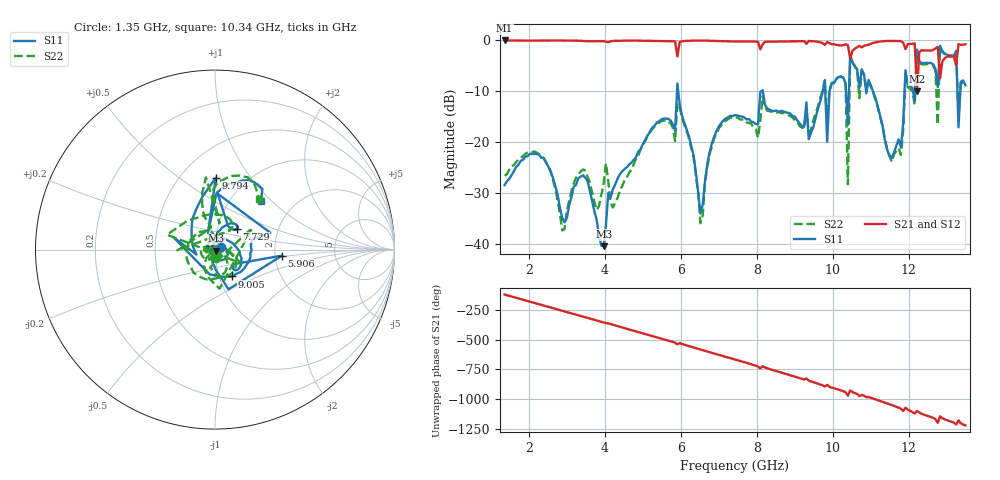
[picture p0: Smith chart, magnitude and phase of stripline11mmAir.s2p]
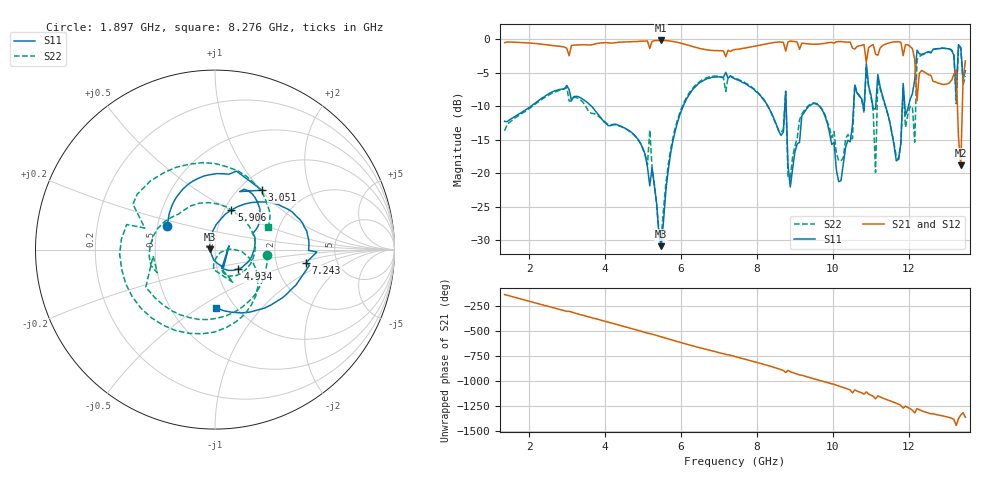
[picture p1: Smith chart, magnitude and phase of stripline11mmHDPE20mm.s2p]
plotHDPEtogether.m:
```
striplineAir = 'stripline11mmAir.s2p';
stripline20mmHDPE = 'stripline11mmHDPE20mm.s2p';
thick20 = 20e-3;
thick10 = 10e-3;
coaxAir = 'coax60mmAir.s2p';
coax10mmHDPE = 'coax60mmHDPE10mm.s2p';
coax20mmHDPE = 'coax60mmHDPE20mm.s2p';
filelength = 209;
[~,sa21,~,~,frequency] = s2pToComplexSParam(striplineAir,filelength);
[~,sh21,~,~,~] = s2pToComplexSParam(stripline20mmHDPE,filelength);
[~,ca21,~,~,~] = s2pToComplexSParam(coaxAir,filelength);
[~,co21,~,~,~] = s2pToComplexSParam(coax10mmHDPE,filelength);
[~,ct21,~,~,~] = s2pToComplexSParam(coax20mmHDPE,filelength);
lengthoffft = 8000;
time_strip_air21=ifft(sa21,lengthoffft);
time_strip_hdpe21=ifft(sh21,lengthoffft);
time_coax_air21=ifft(ca21,lengthoffft);
time_coax_ten21=ifft(co21,lengthoffft);
time_coax_twenty21=ifft(ct21,lengthoffft);

[~,stripline_delay]=max(abs(time_strip_air21));
t=1:1:length(t);
win_length = 25000;
t_win_stripline=exp(-(t-stripline_delay).^2/win_length)';

[~,coax_delay]=max(abs(time_coax_air21));
t_win_coax=exp(-(t-stripline_delay).^2/win_length)';

filter_time_strip_air21=t_win_stripline.*time_strip_air21;
filter_time_strip_hdpe21=t_win_stripline.*time_strip_hdpe21;
filter_time_coax_air21=t_win_coax.*time_coax_air21;
filter_time_coax_ten21=t_win_coax.*time_coax_ten21;
filter_time_coax_twenty21=t_win_coax.*time_coax_twenty21;

temp_time_strip_air21=fft(filter_time_strip_air21);
temp_time_strip_hdpe21=fft(filter_time_strip_hdpe21);
temp_time_coax_air21=fft(filter_time_coax_air21);
temp_time_coax_ten21=fft(filter_time_coax_ten21);
temp_time_coax_twenty21=fft(filter_time_coax_twenty21);

time_strip_air21=temp_time_strip_air21(1:lengthofdata);
time_strip_hdpe21=temp_time_strip_hdpe21(1:lengthofdata);
time_coax_air21=temp_time_coax_air21(1:lengthofdata);
time_coax_ten21=temp_time_coax_ten21(1:lengthofdata);
time_coax_twenty21=temp_time_coax_twenty21(1:lengthofdata);

beta=2*pi*frequency/c0;
stripline=time_strip_hdpe21./time_strip_air21.*exp(-1i*beta*thick20);
coax10mm=time_coax_ten21./time_coax_air21.*exp(-1i*beta*thick10);
coax20mm=time_coax_twenty21./time_coax_air21.*exp(-1i*beta*thick20);

eps_stripline = zeros(size(frequency));
for i=1:length(frequency)
    f=frequency(i);
    tt = fsolve(@(xx) get_s21v2(xx,f,thick20,stripline(i),stripline(i)),[1;0]);
    eps_stripline(i)=tt(1)+1i*tt(2);
end

eps_coax_10mm = zeros(size(frequency));
for i=1:length(frequency)
    f=frequency(i);
    tt = fsolve(@(xx) get_s21v2(xx,f,thick10,coax10mm(i),coax10mm(i)),[1;0]);
    eps_coax_10mm(i)=tt(1)+1i*tt(2);
end

eps_coax_20mm = zeros(size(frequency));
for i=1:length(frequency)
    f=frequency(i);
    tt = fsolve(@(xx) get_s21v2(xx,f,thick20,coax20mm(i),coax20mm(i)),[1;0]);
    eps_coax_20mm(i)=tt(1)+1i*tt(2);
end
subplot(2,1,1)
plot(frequency/1e9,real(eps_stripline),frequency/1e9,real(eps_coax_10mm),frequency/1e9,real(eps_coax_20mm))
hold on
plot([1 13.5],[2.07 2.07],'k--','linewidth',2)
plot([1 13.5],[2.53 2.53],'k--','linewidth',2)
xlabel('frequency (Ghz)')
ylabel('Real Relative \epsilon')
legend('stripline','coax 10mm', 'coax 20mm','Location','eastoutside')
ylim([0 3])
xlim([2 12])
grid on
hold off
subplot(2,1,2)
plot(frequency/1e9,imag(eps_stripline),frequency/1e9,imag(eps_coax_10mm),frequency/1e9,imag(eps_coax_20mm))
xlabel('frequency (Ghz)')
ylabel('Imaginary Relative \epsilon')
legend('stripline','coax 10mm', 'coax 20mm','Location','eastoutside')
xlim([2 12])
grid on
```
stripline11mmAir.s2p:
!Agilent Technologies,N5230C,MY48100320,A.08.04.10
!Agilent N5230C: A.08.04.10
!Date: Thursday, August 04, 2016 03:58:15
!Correction: S11(Full 2 Port(1,2))
!S21(Full 2 Port(1,2))
!S12(Full 2 Port(1,2))
!S22(Full 2 Port(1,2))
!S2P File: Measurements: S11, S21, S12, S22:
# Hz S  dB  R 50
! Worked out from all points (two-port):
!   201 points, 1.35 GHz to 13.5 GHz, reference 50 ohm
!   highest |S21| = -0.10 dB at 1.35 GHz (marker M1); lowest = -10.1 dB at 12.22 GHz (marker M2)
!   |S21| within 3 dB of the highest: start of sweep to 5.903 GHz; 5.91 GHz to 10.45 GHz (4.54 GHz wide, 55.5 % of centre)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
!   lowest |S11| = -40.4 dB at 3.962 GHz (marker M3), VSWR 1.02, Z = 50.7 - j0.662 ohm
!   |S11| at or under -10 dB: start of sweep to 5.897 GHz; 5.928 GHz to 8.123 GHz (2.194 GHz wide, 31.2 % of centre); 8.157 GHz to 9.743 GHz (1.585 GHz wide, 17.7 % of centre)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
!   |S22| runs from -37.3 to -1.5 dB; largest |S21 - S12| = 0.0034
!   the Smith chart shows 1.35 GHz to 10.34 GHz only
!   S11 on the Smith chart (normalised r, x): 1.35 GHz: 1.07, +0.03; 5.906 GHz: 2.18, -0.17; 7.729 GHz: 1.23, +0.29; 9.005 GHz: 1.15, -0.36; 9.794 GHz: 0.73, +0.69; 10.34 GHz: 1.37, +0.87
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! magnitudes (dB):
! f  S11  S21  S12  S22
! 1.35 GHz  -28.4  -0.1  -0.1  -26.6
! 3.962 GHz  -40.4  -0.2  -0.2  -28.1
! 5.906 GHz  -8.5  -3.2  -3.2  -12.4
! 6.514 GHz  -34.0  -0.1  -0.1  -35.9
! 7.425 GHz  -14.7  -0.3  -0.3  -15.3
! 7.729 GHz  -15.6  -0.3  -0.3  -16.1
! 9.005 GHz  -15.0  -0.3  -0.3  -15.7
! 9.794 GHz  -8.0  -1.0  -1.0  -7.8
! 10.34 GHz  -8.6  -0.9  -0.9  -8.6
! 12.22 GHz  -1.9  -10.1  -10.1  -2.3
! 13.5 GHz  -8.8  -0.8  -0.8  -9.2
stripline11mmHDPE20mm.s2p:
!Agilent Technologies,N5230C,MY48100320,A.08.04.10
!Agilent N5230C: A.08.04.10
!Date: Thursday, August 04, 2016 04:01:41
!Correction: S11(Full 2 Port(1,2))
!S21(Full 2 Port(1,2))
!S12(Full 2 Port(1,2))
!S22(Full 2 Port(1,2))
!S2P File: Measurements: S11, S21, S12, S22:
# Hz S  dB  R 50
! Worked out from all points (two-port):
!   201 points, 1.35 GHz to 13.5 GHz, reference 50 ohm
!   highest |S21| = -0.16 dB at 5.481 GHz (marker M1); lowest = -18.8 dB at 13.38 GHz (marker M2)
!   |S21| within 3 dB of the highest: start of sweep to 10.88 GHz; 10.9 GHz to 12.17 GHz (1.27 GHz wide, 11 % of centre)
!   lowest |S11| = -30.9 dB at 5.481 GHz (marker M3), VSWR 1.06, Z = 47.2 + j0.141 ohm
!   |S11| at or under -10 dB: start of sweep to 2.042 GHz; 3.644 GHz to 6.057 GHz (2.413 GHz wide, 49.8 % of centre); 9.652 GHz to 10.55 GHz (900.2 MHz wide, 8.91 % of centre)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
!   |S22| runs from -29.5 to -1.2 dB; largest |S21 - S12| = 0.0028
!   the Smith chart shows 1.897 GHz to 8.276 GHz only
!   S11 on the Smith chart (normalised r, x): 1.897 GHz: 0.56, +0.16; 3.051 GHz: 1.26, +1.01; 4.934 GHz: 1.25, -0.28; 5.906 GHz: 1.08, +0.51; 7.243 GHz: 2.98, -0.59; 8.276 GHz: 0.82, -0.59
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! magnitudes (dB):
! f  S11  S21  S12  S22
! 1.35 GHz  -12.2  -0.5  -0.5  -13.6
! 1.897 GHz  -10.6  -0.5  -0.5  -10.7
! 3.051 GHz  -7.5  -2.4  -2.5  -9.2
! 4.934 GHz  -15.6  -0.3  -0.3  -15.5
! 5.481 GHz  -30.9  -0.2  -0.2  -29.5
! 5.906 GHz  -12.4  -0.4  -0.4  -12.1
! 7.243 GHz  -5.8  -1.6  -1.6  -5.6
! 7.425 GHz  -5.9  -1.5  -1.5  -5.8
! 8.276 GHz  -9.8  -0.6  -0.6  -9.9
! 13.38 GHz  -1.2  -18.8  -18.8  -1.3
! 13.5 GHz  -4.7  -3.2  -3.2  -5.5
